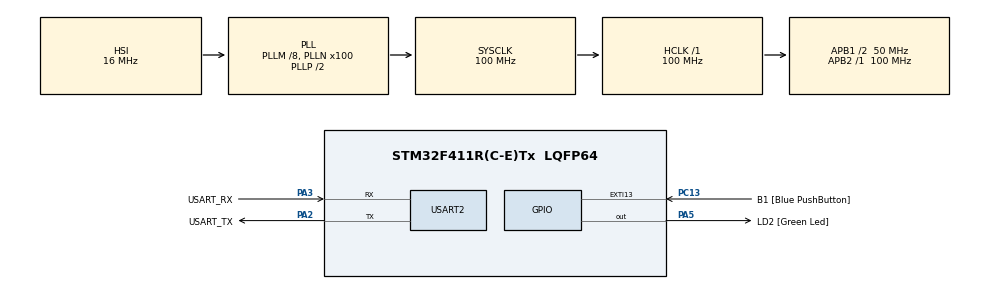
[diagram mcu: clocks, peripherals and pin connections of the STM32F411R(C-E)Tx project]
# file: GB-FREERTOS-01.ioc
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FREERTOS.Tasks01=buttonTask,0,128,StartButtonTask,Default,NULL,Dynamic,NULL,NULL;ledTask,0,128,StartLedTask,Default,NULL,Dynamic,NULL,NULL
FREERTOS.configUSE_NEWLIB_REENTRANT=1
FREERTOS.configUSE_TICKLESS_IDLE=0
Mcu.Family=STM32F4
Mcu.Name=STM32F411R(C-E)Tx
Mcu.Package=LQFP64
NVIC.PriorityGroup=NVIC_PRIORITYGROUP_4
NVIC.TIM2_IRQn=true\:15\:0\:false\:false\:true\:false\:false\:true
NVIC.TimeBase=TIM2_IRQn
NVIC.TimeBaseIP=TIM2
PA13.GPIO_Label=TMS
PA13.Mode=Serial_Wire
PA13.Signal=SYS_JTMS-SWDIO
PA14.GPIO_Label=TCK
PA14.Mode=Serial_Wire
PA14.Signal=SYS_JTCK-SWCLK
PA2.GPIO_Label=USART_TX
PA2.Mode=Asynchronous
PA2.Signal=USART2_TX
PA3.GPIO_Label=USART_RX
PA3.Mode=Asynchronous
PA3.Signal=USART2_RX
PA5.GPIO_Label=LD2 [Green Led]
PA5.Signal=GPIO_Output
PB3.GPIO_Label=SWO
PB3.Signal=SYS_JTDO-SWO
PC13-ANTI_TAMP.GPIO_Label=B1 [Blue PushButton]
PC13-ANTI_TAMP.GPIO_ModeDefaultEXTI=GPIO_MODE_IT_FALLING
PC13-ANTI_TAMP.GPIO_PuPd=GPIO_PULLUP
PC13-ANTI_TAMP.Signal=GPXTI13
PC14-OSC32_IN.Mode=LSE-External-Oscillator
PC14-OSC32_IN.Signal=RCC_OSC32_IN
PC15-OSC32_OUT.Mode=LSE-External-Oscillator
PC15-OSC32_OUT.Signal=RCC_OSC32_OUT
PH0\ -\ OSC_IN.Mode=HSE-External-Clock-Source
PH0\ -\ OSC_IN.Signal=RCC_OSC_IN
PH1\ -\ OSC_OUT.Mode=HSE-External-Clock-Source
PH1\ -\ OSC_OUT.Signal=RCC_OSC_OUT
ProjectManager.HeapSize=0x200
ProjectManager.StackSize=0x400
ProjectManager.TargetToolchain=STM32CubeIDE
RCC.48MHZClocksFreq_Value=50000000
RCC.AHBFreq_Value=100000000
RCC.APB1CLKDivider=RCC_HCLK_DIV2
RCC.APB1Freq_Value=50000000
RCC.APB1TimFreq_Value=100000000
RCC.APB2Freq_Value=100000000
RCC.APB2TimFreq_Value=100000000
RCC.CortexFreq_Value=100000000
RCC.FLatency-AdvancedSettings=FLASH_LATENCY_3
RCC.HCLKFreq_Value=100000000
RCC.HSE_VALUE=8000000
RCC.HSI_VALUE=16000000
RCC.PLLM=8
RCC.PLLN=100
RCC.SYSCLKFreq_VALUE=100000000
RCC.SYSCLKSource=RCC_SYSCLKSOURCE_PLLCLK
RCC.VCOOutputFreq_Value=200000000
USART2.VirtualMode=VM_ASYNC
VP_FREERTOS_VS_CMSIS_V1.Mode=CMSIS_V1
VP_SYS_VS_tim2.Mode=TIM2
board=NUCLEO-F411RE

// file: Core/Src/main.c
/* USER CODE BEGIN Header */
/**
 ******************************************************************************
 * @file           : main.c
 * @brief          : Main program body
 ******************************************************************************
 * @attention
 *
 * <h2><center>&copy; Copyright (c) 2021 STMicroelectronics.
 * All rights reserved.</center></h2>
 *
 * This software component is licensed by ST under BSD 3-Clause license,
 * the "License"; You may not use this file except in compliance with the
 * License. You may obtain a copy of the License at:
 *                        opensource.org/licenses/BSD-3-Clause
 *
 ******************************************************************************
 */
/* USER CODE END Header */
#include "main.h"
#include "cmsis_os.h"

UART_HandleTypeDef huart2;

osThreadId buttonTaskHandle;
osThreadId ledTaskHandle;
/* USER CODE BEGIN PV */
uint8_t counter = 0;
uint32_t delay_ms;
/* USER CODE END PV */

void SystemClock_Config(void);
static void MX_GPIO_Init(void);
static void MX_USART2_UART_Init(void);
void StartButtonTask(void const * argument);
void StartLedTask(void const * argument);

int main(void)
{

  /* MCU Configuration--------------------------------------------------------*/

  /* Reset of all peripherals, Initializes the Flash interface and the Systick. */
  HAL_Init();

  /* Configure the system clock */
  SystemClock_Config();

  /* Initialize all configured peripherals */
  MX_GPIO_Init();
  MX_USART2_UART_Init();

  /* Create the thread(s) */
  /* definition and creation of buttonTask */
  osThreadDef(buttonTask, StartButtonTask, osPriorityNormal, 0, 128);
  buttonTaskHandle = osThreadCreate(osThread(buttonTask), NULL);

  /* definition and creation of ledTask */
  osThreadDef(ledTask, StartLedTask, osPriorityNormal, 0, 128);
  ledTaskHandle = osThreadCreate(osThread(ledTask), NULL);

  /* Start scheduler */
  osKernelStart();

  /* We should never get here as control is now taken by the scheduler */
  /* Infinite loop */
	while (1) {

	}
}

void SystemClock_Config(void)
{
  RCC_OscInitTypeDef RCC_OscInitStruct = {0};
  RCC_ClkInitTypeDef RCC_ClkInitStruct = {0};

  /** Configure the main internal regulator output voltage
  */
  __HAL_RCC_PWR_CLK_ENABLE();
  __HAL_PWR_VOLTAGESCALING_CONFIG(PWR_REGULATOR_VOLTAGE_SCALE1);
  /** Initializes the RCC Oscillators according to the specified parameters
  * in the RCC_OscInitTypeDef structure.
  */
  RCC_OscInitStruct.OscillatorType = RCC_OSCILLATORTYPE_HSI;
  RCC_OscInitStruct.HSIState = RCC_HSI_ON;
  RCC_OscInitStruct.HSICalibrationValue = RCC_HSICALIBRATION_DEFAULT;
  RCC_OscInitStruct.PLL.PLLState = RCC_PLL_ON;
  RCC_OscInitStruct.PLL.PLLSource = RCC_PLLSOURCE_HSI;
  RCC_OscInitStruct.PLL.PLLM = 8;
  RCC_OscInitStruct.PLL.PLLN = 100;
  RCC_OscInitStruct.PLL.PLLP = RCC_PLLP_DIV2;
  RCC_OscInitStruct.PLL.PLLQ = 4;
  if (HAL_RCC_OscConfig(&RCC_OscInitStruct) != HAL_OK)
  {
    Error_Handler();
  }
  /** Initializes the CPU, AHB and APB buses clocks
  */
  RCC_ClkInitStruct.ClockType = RCC_CLOCKTYPE_HCLK|RCC_CLOCKTYPE_SYSCLK
                              |RCC_CLOCKTYPE_PCLK1|RCC_CLOCKTYPE_PCLK2;
  RCC_ClkInitStruct.SYSCLKSource = RCC_SYSCLKSOURCE_PLLCLK;
  RCC_ClkInitStruct.AHBCLKDivider = RCC_SYSCLK_DIV1;
  RCC_ClkInitStruct.APB1CLKDivider = RCC_HCLK_DIV2;
  RCC_ClkInitStruct.APB2CLKDivider = RCC_HCLK_DIV1;

  if (HAL_RCC_ClockConfig(&RCC_ClkInitStruct, FLASH_LATENCY_3) != HAL_OK)
  {
    Error_Handler();
  }
}

static void MX_USART2_UART_Init(void)
{

  huart2.Instance = USART2;
  huart2.Init.BaudRate = 115200;
  huart2.Init.WordLength = UART_WORDLENGTH_8B;
  huart2.Init.StopBits = UART_STOPBITS_1;
  huart2.Init.Parity = UART_PARITY_NONE;
  huart2.Init.Mode = UART_MODE_TX_RX;
  huart2.Init.HwFlowCtl = UART_HWCONTROL_NONE;
  huart2.Init.OverSampling = UART_OVERSAMPLING_16;
  if (HAL_UART_Init(&huart2) != HAL_OK)
  {
    Error_Handler();
  }

}

static void MX_GPIO_Init(void)
{
  GPIO_InitTypeDef GPIO_InitStruct = {0};

  /* GPIO Ports Clock Enable */
  __HAL_RCC_GPIOC_CLK_ENABLE();
  __HAL_RCC_GPIOH_CLK_ENABLE();
  __HAL_RCC_GPIOA_CLK_ENABLE();
  __HAL_RCC_GPIOB_CLK_ENABLE();

  /*Configure GPIO pin Output Level */
  HAL_GPIO_WritePin(LD2_GPIO_Port, LD2_Pin, GPIO_PIN_RESET);

  /*Configure GPIO pin : B1_Pin */
  GPIO_InitStruct.Pin = B1_Pin;
  GPIO_InitStruct.Mode = GPIO_MODE_IT_FALLING;
  GPIO_InitStruct.Pull = GPIO_PULLUP;
  HAL_GPIO_Init(B1_GPIO_Port, &GPIO_InitStruct);

  /*Configure GPIO pin : LD2_Pin */
  GPIO_InitStruct.Pin = LD2_Pin;
  GPIO_InitStruct.Mode = GPIO_MODE_OUTPUT_PP;
  GPIO_InitStruct.Pull = GPIO_NOPULL;
  GPIO_InitStruct.Speed = GPIO_SPEED_FREQ_LOW;
  HAL_GPIO_Init(LD2_GPIO_Port, &GPIO_InitStruct);

}

void StartButtonTask(void const * argument)
{
  /* USER CODE BEGIN 5 */
	uint8_t flag_key_press = 1;
	uint32_t time_key_press = 0;
	/* Infinite loop */
	for (;;) {
		if (HAL_GPIO_ReadPin(B1_GPIO_Port, B1_Pin) == GPIO_PIN_RESET && flag_key_press) {
			flag_key_press = 0;
			counter++;
			time_key_press = HAL_GetTick();
		}

		if(!flag_key_press && (HAL_GetTick() - time_key_press) > 300)
		{
			flag_key_press = 1;
		}

		switch (counter) {
		case 0:
			delay_ms = 1000;
			break;
		case 1:
			delay_ms = 500;
			break;
		case 2:
			delay_ms = 250;
			break;
		case 3:
			delay_ms = 125;
			break;
		case 4:
			delay_ms = 50;
			break;
		default:
			counter = 0;
			break;
		}
		osDelay(1);
	}
  /* USER CODE END 5 */
}

void StartLedTask(void const * argument)
{
  /* USER CODE BEGIN StartLedTask */
	/* Infinite loop */
	for (;;) {
		HAL_GPIO_TogglePin(LD2_GPIO_Port, LD2_Pin);
		osDelay(delay_ms);
	}
  /* USER CODE END StartLedTask */
}

void HAL_TIM_PeriodElapsedCallback(TIM_HandleTypeDef *htim)
{
  if (htim->Instance == TIM2) {
    HAL_IncTick();
  }
}

void Error_Handler(void)
{
	__disable_irq();
	while (1) {
	}
}

/************************ (C) COPYRIGHT STMicroelectronics *****END OF FILE****/
